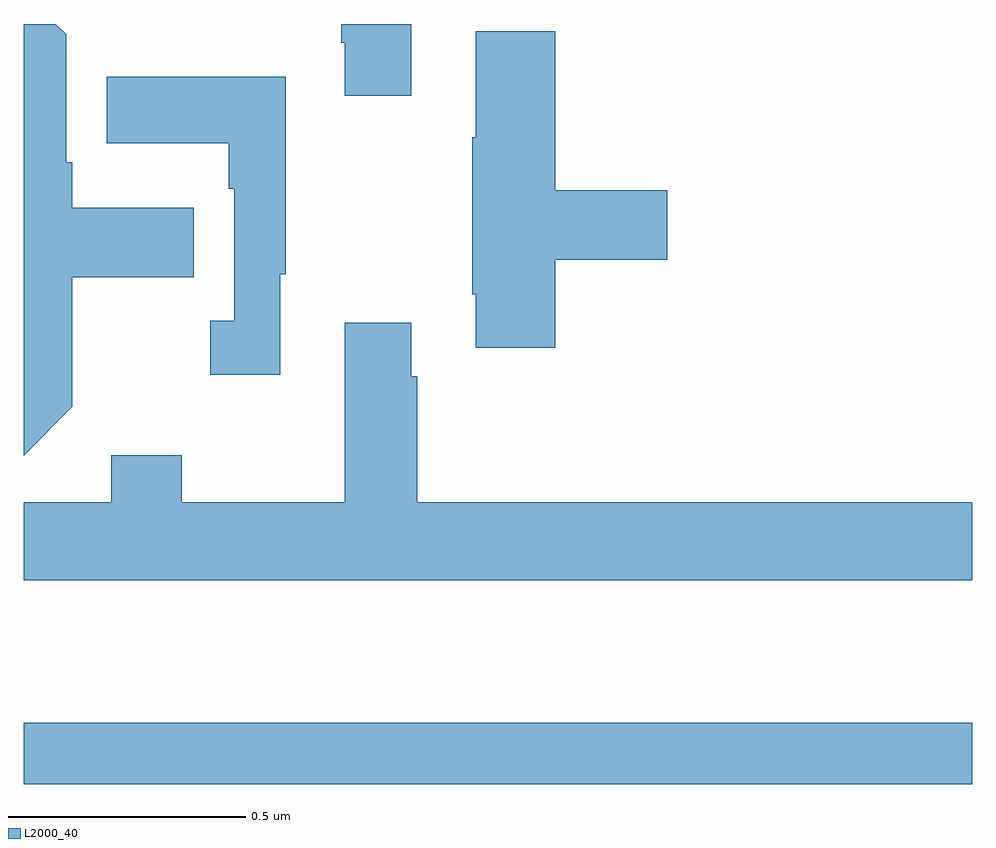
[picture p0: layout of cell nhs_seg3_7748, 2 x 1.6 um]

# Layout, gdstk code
import gdstk
lib = gdstk.Library(unit=1e-6, precision=1e-09)
def R(c, l, rs):  # rectangles x0, y0, x1, y1
    for r in rs: c.add(gdstk.rectangle(r[:2], r[2:], *l))
def P(c, l, *ps):  # polygons
    for p in ps: c.add(gdstk.Polygon(p, *l))
L2000_40 = (2000, 40)

nhs_seg3_7748 = lib.new_cell('nhs_seg3_7748')
R(nhs_seg3_7748, L2000_40, [(207,721.798,209,721.927)])
P(nhs_seg3_7748, L2000_40, [(207.817,723.4),(207.67,723.4),(207.67,723.361),(207.677,723.361),(207.677,723.249),(207.817,723.249)],
  [(207.103,722.593),(207.103,722.866),(207.359,722.866),(207.359,723.013),(207.103,723.013),(207.103,723.109),(207.09,723.109),(207.09,723.378),(207.068,723.4),(207,723.4),(207,722.49)],
  [(208.121,722.903),(208.357,722.903),(208.357,723.05),(208.121,723.05),(208.121,723.385),(207.953,723.385),(207.953,723.161),(207.946,723.161),(207.946,722.83),(207.953,722.83),(207.953,722.718),(208.121,722.718)],
  [(207.541,722.873),(207.553,722.873),(207.553,723.289),(207.175,723.289),(207.175,723.149),(207.432,723.149),(207.432,723.053),(207.444,723.053),(207.444,722.774),(207.393,722.774),(207.393,722.661),(207.541,722.661)],
  [(209,722.392),(207.83,722.392),(207.83,722.657),(207.817,722.657),(207.817,722.77),(207.677,722.77),(207.677,722.392),(207.333,722.392),(207.333,722.491),(207.185,722.491),(207.185,722.392),(207,722.392),(207,722.228),(209,722.228)])

lib.write_gds('nhs_seg3_7748.gds')
